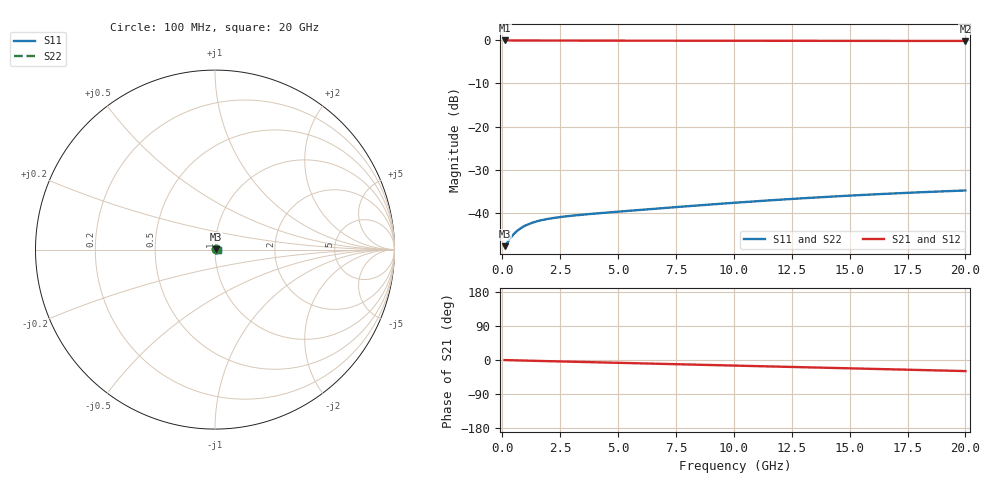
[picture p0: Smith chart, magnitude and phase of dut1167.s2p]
! Touchstone file exported from HFSS 2026.1.0
!  File:  C:/ffzhzh/LocalFiles/Ansys_Project_Files/temp_train_BSMRDL_1167_1783175906_18472.aedt
!  Generated:  10:39:31 PM Jul  4, 2026
!  Design:  BSMRDL
!  Project:  temp_train_BSMRDL_1167_1783175906_18472
! Variables:
!  h_bsmrdl = 2.01um
!  h_ox = 20um
!  h_rdl = 5um
!  h_sub = 80um
!  h_tmrdl = 5um
!  h_tsv = 80um
!  h_via = 3um
!  l_bsmrdl = 510.98um
!  l_sub = 910.98um
!  l_tmrdl = 200um
!  m_sub = 200um
!  pitch = 28.13um
!  r_tsv = 6um
!  s_tmrdl = 10um
!  w_bsmrdl = 24.92um
!  w_sub = 500um
!  w_tmrdl = 12um
!  x_tsv_center1 = 206um
!  x_tsv_center2 = 741.9um
!  x_tsv_center3 = 953.9um
!  x_tsv_center4 = 1489.8um
!  x_tsv_center5 = 1701.8um
!  x_tsv_center6 = 2237.7um
# GHz S MA R 50.000000
! Terminal data exported
! Port[1] = BSM_RDL1_1_T1
! Port[2] = BSM_RDL1_1_T2
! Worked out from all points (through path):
!   200 points, 100 MHz to 20 GHz, reference 50 ohm
!   highest |S21| = -0.04 dB at 100 MHz (marker M1); lowest = -0.2 dB at 20 GHz (marker M2)
!   group delay of S21, straight-line fit = 4.05 ps
!   lowest |S11| = -47.8 dB at 100 MHz (marker M3), VSWR 1.01, Z = 50.4 + j0.0618 ohm
!   |S11| at or under -10 dB: start of sweep to end of sweep
!   |S22| runs from -47.8 to -35.0 dB; largest |S21 - S12| = 3.3e-15
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0.1  0.004091 8.6  0.996 -0.2  0.996 -0.2  0.004091 8.6
! Gamma 0 0 0 0
! Port Impedance 50 0 50 0
0.2  0.004417 15.2  0.9958 -0.4  0.9958 -0.4  0.004419 15.1
0.3  0.004836 19.2  0.9955 -0.5  0.9955 -0.5  0.004832 19.1
0.4  0.005264 21.4  0.9951 -0.7  0.9951 -0.7  0.005251 21.3
0.5  0.005663 22.5  0.9948 -0.9  0.9948 -0.9  0.00564 22.4
0.6  0.00602 22.9  0.9944 -1.0  0.9944 -1.0  0.00599 22.9
0.7  0.006337 23.0  0.9941 -1.2  0.9941 -1.2  0.006305 23.0
0.9  0.00687 22.6  0.9936 -1.5  0.9936 -1.5  0.006841 22.8
1  0.007095 22.3  0.9933 -1.6  0.9933 -1.6  0.007071 22.5
1.2  0.007483 21.7  0.993 -1.9  0.993 -1.9  0.007469 21.9
1.4  0.007805 21.0  0.9927 -2.2  0.9927 -2.2  0.007798 21.2
1.6  0.008074 20.3  0.9924 -2.5  0.9924 -2.5  0.008074 20.5
1.8  0.008304 19.7  0.9922 -2.8  0.9922 -2.8  0.008307 19.8
2.1  0.008592 18.9  0.992 -3.2  0.992 -3.2  0.008597 19.0
2.7  0.00904 17.8  0.9916 -4.1  0.9916 -4.1  0.009043 17.9
3.5  0.009508 17.0  0.9912 -5.2  0.9912 -5.2  0.009504 17.0
6.8  0.01123 15.5  0.9898 -10.1  0.9898 -10.1  0.0112 15.6
10.1  0.01309 12.4  0.9883 -14.9  0.9883 -14.9  0.01301 12.6
11.8  0.01405 10.0  0.9874 -17.4  0.9874 -17.4  0.01395 10.1
13.4  0.01494 7.3  0.9865 -19.7  0.9865 -19.7  0.0148 7.4
16.7  0.01663 0.7  0.9845 -24.5  0.9845 -24.5  0.01642 0.9
20  0.01811 -6.6  0.9826 -29.3  0.9826 -29.3  0.0178 -6.3
